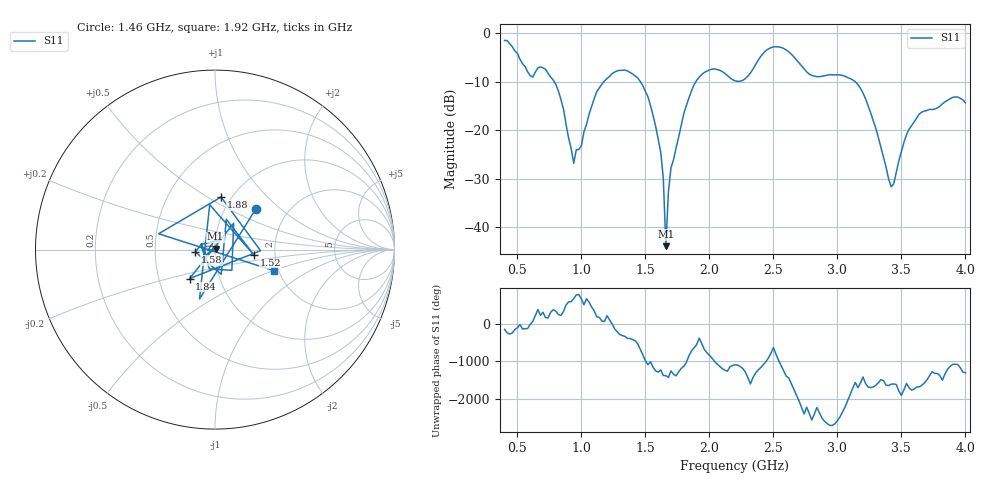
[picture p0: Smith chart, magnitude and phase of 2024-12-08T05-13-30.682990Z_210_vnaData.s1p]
!Created with skrf (http://scikit-rf.org).
# Hz S RI R 50.0
!freq ReS11 ImS11
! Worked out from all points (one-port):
!   181 points, 400 MHz to 4 GHz, reference 50 ohm
!   lowest |S11| = -43.9 dB at 1.66 GHz (marker M1), VSWR 1.01, Z = 50.3 + j0.558 ohm
!   |S11| at or under -10 dB: 788.1 MHz to 1.174 GHz (386.1 MHz wide, 39.3 % of centre); 1.461 GHz to 1.894 GHz (432.5 MHz wide, 25.8 % of centre); 3.141 GHz to end of sweep
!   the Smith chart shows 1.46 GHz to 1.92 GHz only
!   S11 on the Smith chart (normalised r, x): 1.46 GHz: 1.38, +0.69; 1.52 GHz: 1.56, -0.10; 1.58 GHz: 0.80, -0.02; 1.84 GHz: 0.72, -0.24; 1.88 GHz: 0.90, +0.57; 1.92 GHz: 1.90, -0.51
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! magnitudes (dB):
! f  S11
! 400 MHz  -1.5
! 600 MHz  -8.7
! 720 MHz  -7.4
! 860 MHz  -15.6
! 940 MHz  -26.8
! 1.12 GHz  -12.0
! 1.3 GHz  -7.6
! 1.46 GHz  -9.9
! 1.52 GHz  -13.1
! 1.58 GHz  -19.2
! 1.64 GHz  -29.9
! 1.66 GHz  -43.9
! 1.68 GHz  -32.6
! 1.7 GHz  -27.7
! 1.76 GHz  -21.4
! 1.84 GHz  -13.3
! 1.88 GHz  -10.6
! 1.92 GHz  -9.1
! 2.2 GHz  -9.8
! 2.48 GHz  -3.0
! 2.66 GHz  -4.9
! 2.8 GHz  -8.7
! 3.1 GHz  -9.3
! 3.22 GHz  -13.5
! 3.42 GHz  -31.6
! 3.56 GHz  -19.8
! 3.9 GHz  -13.2
! 4 GHz  -14.3
